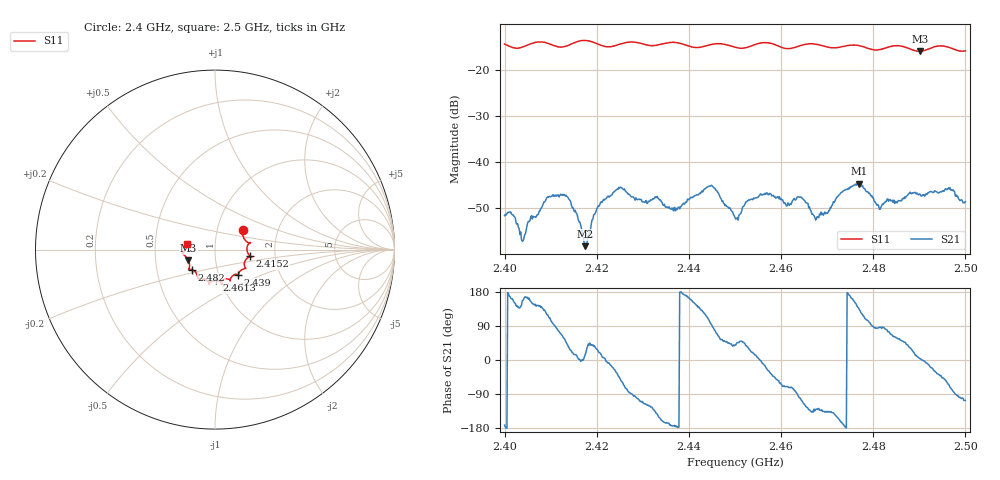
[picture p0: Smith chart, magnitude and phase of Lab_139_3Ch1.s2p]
# Hz S RI R 50
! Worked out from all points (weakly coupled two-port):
!   601 points, 2.4 GHz to 2.5 GHz, reference 50 ohm
!   highest |S21| = -44.66 dB at 2.4768 GHz (marker M1); lowest = -58.2 dB at 2.4175 GHz (marker M2)
!   lowest |S11| = -15.9 dB at 2.4902 GHz (marker M3), VSWR 1.38, Z = 36.9 - j4.59 ohm
!   |S11| at or under -10 dB: start of sweep to end of sweep
!   S12 and S22 are empty: the file has one direction only
!   S11 on the Smith chart (normalised r, x): 2.4 GHz: 1.33, +0.31; 2.4152 GHz: 1.48, -0.11; 2.439 GHz: 1.24, -0.36; 2.4613 GHz: 0.96, -0.34; 2.482 GHz: 0.76, -0.18; 2.5 GHz: 0.73, +0.05
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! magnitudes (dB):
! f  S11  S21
! 2.4 GHz  -14.4  -51.6
! 2.4038 GHz  -15.0  -57.2
! 2.4097 GHz  -14.3  -47.4
! 2.4152 GHz  -14.1  -50.8
! 2.4167 GHz  -13.6  -54.3
! 2.4175 GHz  -13.6  -58.2
! 2.4205 GHz  -14.5  -49.5
! 2.4247 GHz  -14.5  -45.8
! 2.4333 GHz  -14.5  -47.9
! 2.439 GHz  -14.5  -49.1
! 2.4448 GHz  -14.4  -45.0
! 2.45 GHz  -15.0  -52.0
! 2.456 GHz  -14.1  -47.0
! 2.4613 GHz  -15.3  -49.4
! 2.4642 GHz  -14.7  -47.6
! 2.4667 GHz  -14.3  -51.3
! 2.4768 GHz  -14.7  -44.7
! 2.482 GHz  -15.4  -49.1
! 2.4833 GHz  -15.0  -48.5
! 2.4902 GHz  -15.9  -46.9
! 2.4962 GHz  -15.0  -45.8
! 2.5 GHz  -15.8  -48.5
